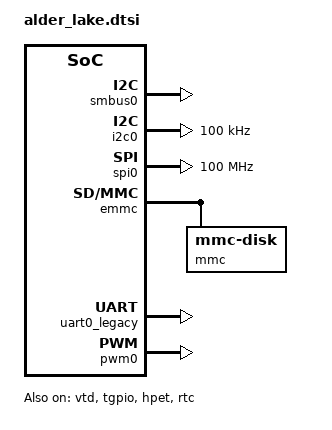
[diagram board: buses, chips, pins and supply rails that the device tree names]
/*
 * Copyright (c) 2023 Intel Corporation.
 *
 * SPDX-License-Identifier: Apache-2.0
 */

#include "skeleton.dtsi"
#include <zephyr/dt-bindings/interrupt-controller/intel-ioapic.h>
#include <zephyr/dt-bindings/i2c/i2c.h>
#include <zephyr/dt-bindings/pcie/pcie.h>
#include <zephyr/dt-bindings/gpio/gpio.h>
#include "gpio_common.dtsi"

/ {
	cpus {
		#address-cells = <1>;
		#size-cells = <0>;

		cpu: cpu@0 {
			device_type = "cpu";
			compatible = "intel,alder-lake", "intel,x86_64";
			d-cache-line-size = <64>;
			reg = <0>;
		};

		cpu@1 {
			device_type = "cpu";
			compatible = "intel,alder-lake", "intel,x86_64";
			d-cache-line-size = <64>;
			reg = <1>;
		};

	};

	dram0: memory@0 {
		device_type = "memory";
		reg = <0x0 DT_DRAM_SIZE>;
	};

	intc: ioapic@fec00000  {
		compatible = "intel,ioapic";
		#address-cells = <1>;
		#interrupt-cells = <3>;
		reg = <0xfec00000 0x1000>;
		interrupt-controller;
	};

	intc_loapic: loapic@fee00000  {
		compatible = "intel,loapic";
		reg = <0xfee00000 0x1000>;
		interrupt-controller;
		#interrupt-cells = <3>;
		#address-cells = <1>;
	};

	acpi {
		gpio_a: gpio_a {
			acpi-hid = "INTC1057";
			acpi-uid = "2";
			group-index = <0x02>;
			status = "okay";
		};

		gpio_b: gpio_b {
			acpi-hid = "INTC1057";
			acpi-uid = "0";
			group-index = <0x0>;
			status = "okay";
		};

		gpio_c: gpio_c {
			acpi-hid = "INTC1057";
			acpi-uid = "0";
			group-index = <0x0B>;
			status = "okay";
		};

		gpio_d: gpio_d {
			acpi-hid = "INTC1057";
			acpi-uid = "0";
			group-index = <0x8>;
			status = "okay";
		};

		gpio_e: gpio_e {
			acpi-hid = "INTC1057";
			acpi-uid = "0";
			group-index = <0xE>;
			status = "okay";
		};

		gpio_f: gpio_f {
			acpi-hid = "INTC1057";
			acpi-uid = "0";
			group-index = <0xC>;
			status = "okay";
		};

		gpio_h: gpio_h {
			acpi-hid = "INTC1057";
			acpi-uid = "0";
			group-index = <0x7>;
			status = "okay";
		};

		gpio_i: gpio_i {
			acpi-hid = "INTC1057";
			acpi-uid = "0";
			group-index = <0x9>;
			status = "okay";
		};

		gpio_s: gpio_s {
			acpi-hid = "INTC1057";
			acpi-uid = "0";
			group-index = <0x6>;
			status = "okay";
		};

		gpio_r: gpio_r {
			acpi-hid = "INTC1057";
			acpi-uid = "0";
			group-index = <0x3>;
			status = "okay";
		};

		gpio_t: gpio_t {
			acpi-hid = "INTC1057";
			acpi-uid = "0";
			group-index = <0x1>;
			status = "okay";
		};

		gpio_v: gpio_v {
			acpi-hid = "INTC1057";
			acpi-uid = "0";
			group-index = <0xA>;
			status = "okay";
		};
	};

	pcie0: pcie0 {
		#address-cells = <1>;
		#size-cells = <1>;
		compatible = "pcie-controller";
		acpi-hid = "PNP0A08";
		ranges;

		smbus0: smbus0 {
			compatible = "intel,pch-smbus";
			#address-cells = <1>;
			#size-cells = <0>;
			vendor-id = <0x8086>;
			device-id = <0x54a3>;
			interrupts = <PCIE_IRQ_DETECT IRQ_TYPE_LOWEST_LEVEL_LOW 3>;
			interrupt-parent = <&intc>;

			status = "okay";
		};

		uart0: uart0 {
			compatible = "ns16550";

			vendor-id = <0x8086>;
			device-id = <0x54a8>;

			clock-frequency = <1843200>;
			current-speed = <115200>;
			reg-shift = <2>;

			interrupts = <PCIE_IRQ_DETECT IRQ_TYPE_LOWEST_LEVEL_LOW 3>;
			interrupt-parent = <&intc>;
			status = "disabled";
		};

		uart1_dma: uart1_dma {
			compatible = "intel,lpss";
			#dma-cells = <1>;
			status = "disabled";
		};

		uart1: uart1 {
			compatible = "ns16550";
			vendor-id = <0x8086>;
			device-id = <0x54A9>;
			clock-frequency = <1843200>;
			current-speed = <115200>;
			reg-shift = <2>;
			interrupts = <PCIE_IRQ_DETECT IRQ_TYPE_LOWEST_LEVEL_LOW 3>;
			interrupt-parent = <&intc>;
			dmas = <&uart1_dma 0>, <&uart1_dma 1>;
			dma-names = "tx", "rx";
			status = "disabled";
		};

		uart2_dma: uart2_dma {
			compatible = "intel,lpss";
			#dma-cells = <1>;
			status = "disabled";
		};

		uart2: uart2 {
			compatible = "ns16550";
			vendor-id = <0x8086>;
			device-id = <0x54C7>;
			clock-frequency = <1843200>;
			current-speed = <115200>;
			reg-shift = <2>;
			interrupts = <PCIE_IRQ_DETECT IRQ_TYPE_LOWEST_LEVEL_LOW 3>;
			interrupt-parent = <&intc>;
			dmas = <&uart2_dma 0>, <&uart2_dma 1>;
			dma-names = "tx", "rx";

			status = "disabled";
		};

		i2c0: i2c0 {
			compatible = "snps,designware-i2c";
			clock-frequency = <I2C_BITRATE_STANDARD>;
			#address-cells = <1>;
			#size-cells = <0>;
			vendor-id = <0x8086>;
			device-id = <0x54e8>;
			interrupts = <PCIE_IRQ_DETECT IRQ_TYPE_LOWEST_LEVEL_LOW 3>;
			interrupt-parent = <&intc>;

			status = "okay";
		};

		i2c1: i2c1 {
			compatible = "snps,designware-i2c";
			clock-frequency = <I2C_BITRATE_STANDARD>;
			#address-cells = <1>;
			#size-cells = <0>;
			vendor-id = <0x8086>;
			device-id = <0x54e9>;
			interrupts = <PCIE_IRQ_DETECT IRQ_TYPE_LOWEST_LEVEL_LOW 3>;
			interrupt-parent = <&intc>;

			status = "disabled";
		};

		i2c2: i2c2 {
			compatible = "snps,designware-i2c";
			clock-frequency = <I2C_BITRATE_STANDARD>;
			#address-cells = <1>;
			#size-cells = <0>;
			vendor-id = <0x8086>;
			device-id = <0x54ea>;
			interrupts = <PCIE_IRQ_DETECT IRQ_TYPE_LOWEST_LEVEL_LOW 3>;
			interrupt-parent = <&intc>;

			status = "disabled";
		};

		i2c3: i2c3 {
			compatible = "snps,designware-i2c";
			clock-frequency = <I2C_BITRATE_STANDARD>;
			#address-cells = <1>;
			#size-cells = <0>;
			vendor-id = <0x8086>;
			device-id = <0x54eb>;
			interrupts = <PCIE_IRQ_DETECT IRQ_TYPE_LOWEST_LEVEL_LOW 3>;
			interrupt-parent = <&intc>;

			status = "disabled";
		};

		i2c4: i2c4 {
			compatible = "snps,designware-i2c";
			clock-frequency = <I2C_BITRATE_STANDARD>;
			#address-cells = <1>;
			#size-cells = <0>;
			vendor-id = <0x8086>;
			device-id = <0x54c5>;
			interrupts = <PCIE_IRQ_DETECT IRQ_TYPE_LOWEST_LEVEL_LOW 3>;
			interrupt-parent = <&intc>;

			status = "disabled";
		};

		i2c5: i2c5 {
			compatible = "snps,designware-i2c";
			clock-frequency = <I2C_BITRATE_STANDARD>;
			#address-cells = <1>;
			#size-cells = <0>;
			vendor-id = <0x8086>;
			device-id = <0x54c6>;
			interrupts = <PCIE_IRQ_DETECT IRQ_TYPE_LOWEST_LEVEL_LOW 3>;
			interrupt-parent = <&intc>;

			status = "disabled";
		};

		spi0: spi0 {
			compatible = "intel,penwell-spi";
			vendor-id = <0x8086>;
			device-id = <0x54aa>;
			#address-cells = <1>;
			#size-cells = <0>;
			pw,cs-mode = <0>;
			pw,cs-output = <0>;
			pw,fifo-depth = <64>;
			cs-gpios = <&gpio_e 10 GPIO_ACTIVE_LOW>;
			clock-frequency = <100000000>;
			interrupts = <PCIE_IRQ_DETECT IRQ_TYPE_LOWEST_LEVEL_LOW 3>;
			interrupt-parent = <&intc>;
			status = "okay";
		};

		spi1: spi1 {
			compatible = "intel,penwell-spi";
			vendor-id = <0x8086>;
			device-id = <0x54ab>;
			#address-cells = <1>;
			#size-cells = <0>;
			pw,cs-mode = <0>;
			pw,cs-output = <0>;
			pw,fifo-depth = <64>;
			cs-gpios = <&gpio_f 16 GPIO_ACTIVE_LOW>;
			clock-frequency = <100000000>;
			interrupts = <PCIE_IRQ_DETECT IRQ_TYPE_LOWEST_LEVEL_LOW 3>;
			interrupt-parent = <&intc>;
			status = "disabled";
		};

		spi2: spi2 {
			compatible = "intel,penwell-spi";
			vendor-id = <0x8086>;
			device-id = <0x54fb>;
			#address-cells = <1>;
			#size-cells = <0>;
			pw,cs-mode = <0>;
			pw,cs-output = <0>;
			pw,fifo-depth = <64>;
			cs-gpios = <&gpio_d 9 GPIO_ACTIVE_LOW>;
			clock-frequency = <100000000>;
			interrupts = <PCIE_IRQ_DETECT IRQ_TYPE_LOWEST_LEVEL_LOW 3>;
			interrupt-parent = <&intc>;
			status = "disabled";
		};

		emmc: emmc0 {
			compatible = "intel,emmc-host";
			vendor-id = <0x8086>;
			device-id = <0x54C4>;
			interrupts = <PCIE_IRQ_DETECT IRQ_TYPE_LOWEST_LEVEL_LOW 3>;
			interrupt-parent = <&intc>;

			max-bus-freq = <200000000>;
			min-bus-freq = <400000>;
			power-delay-ms = <500>;
			mmc-hs400-1_8v;
			mmc-hs200-1_8v;

			mmc {
				compatible = "zephyr,mmc-disk";
				disk-name = "SD2";
				bus-width = <8>;
				status = "okay";
			};

			status = "okay";
		};
	};

	soc {
		#address-cells = <1>;
		#size-cells = <1>;
		compatible = "simple-bus";
		ranges;

		vtd: vtd@fed91000 {
			compatible = "intel,vt-d";
			reg = <0xfed91000 0x1000>;
			status = "okay";
		};

		uart0_legacy: uart@3f8 {
			compatible = "ns16550";
			reg = <0x000003f8 0x100>;
			io-mapped;
			clock-frequency = <1843200>;
			interrupts = <4 IRQ_TYPE_LOWEST_EDGE_RISING 3>;
			interrupt-parent = <&intc>;
			reg-shift = <0>;
			status = "okay";
		};

		tgpio: tgpio@fe001200 {
			compatible = "intel,timeaware-gpio";
			reg = <0xfe001200 0x100>;
			timer-clock = <19200000>;
			max-pins = <2>;
			status = "okay";
		};

		hpet: hpet@fed00000 {
			compatible = "intel,hpet";
			reg = <0xfed00000 0x400>;
			interrupts = <2 IRQ_TYPE_FIXED_EDGE_RISING 4>;
			interrupt-parent = <&intc>;

			status = "okay";
		};

		rtc: counter: rtc@70 {
			compatible = "motorola,mc146818";
			reg = <0x70 0x0D 0x71 0x0D>;
			interrupts = <8 IRQ_TYPE_LOWEST_EDGE_RISING 3>;
			interrupt-parent = <&intc>;
			alarms-count = <1>;

			status = "okay";
		};

		tco_wdt: tco_wdt@400 {
			compatible = "intel,tco-wdt";
			reg = <0x0400 0x20>;
			status = "disabled";
		};

		pwm0: pwm0@fd6d0000 {
			compatible = "intel,blinky-pwm";
			reg = <0xfd6d0000 0x400>;
			reg-offset = <0x204>;
			clock-frequency = <32768>;
			max-pins = <1>;
			#pwm-cells = <2>;
			status = "okay";
		};
	};
};
